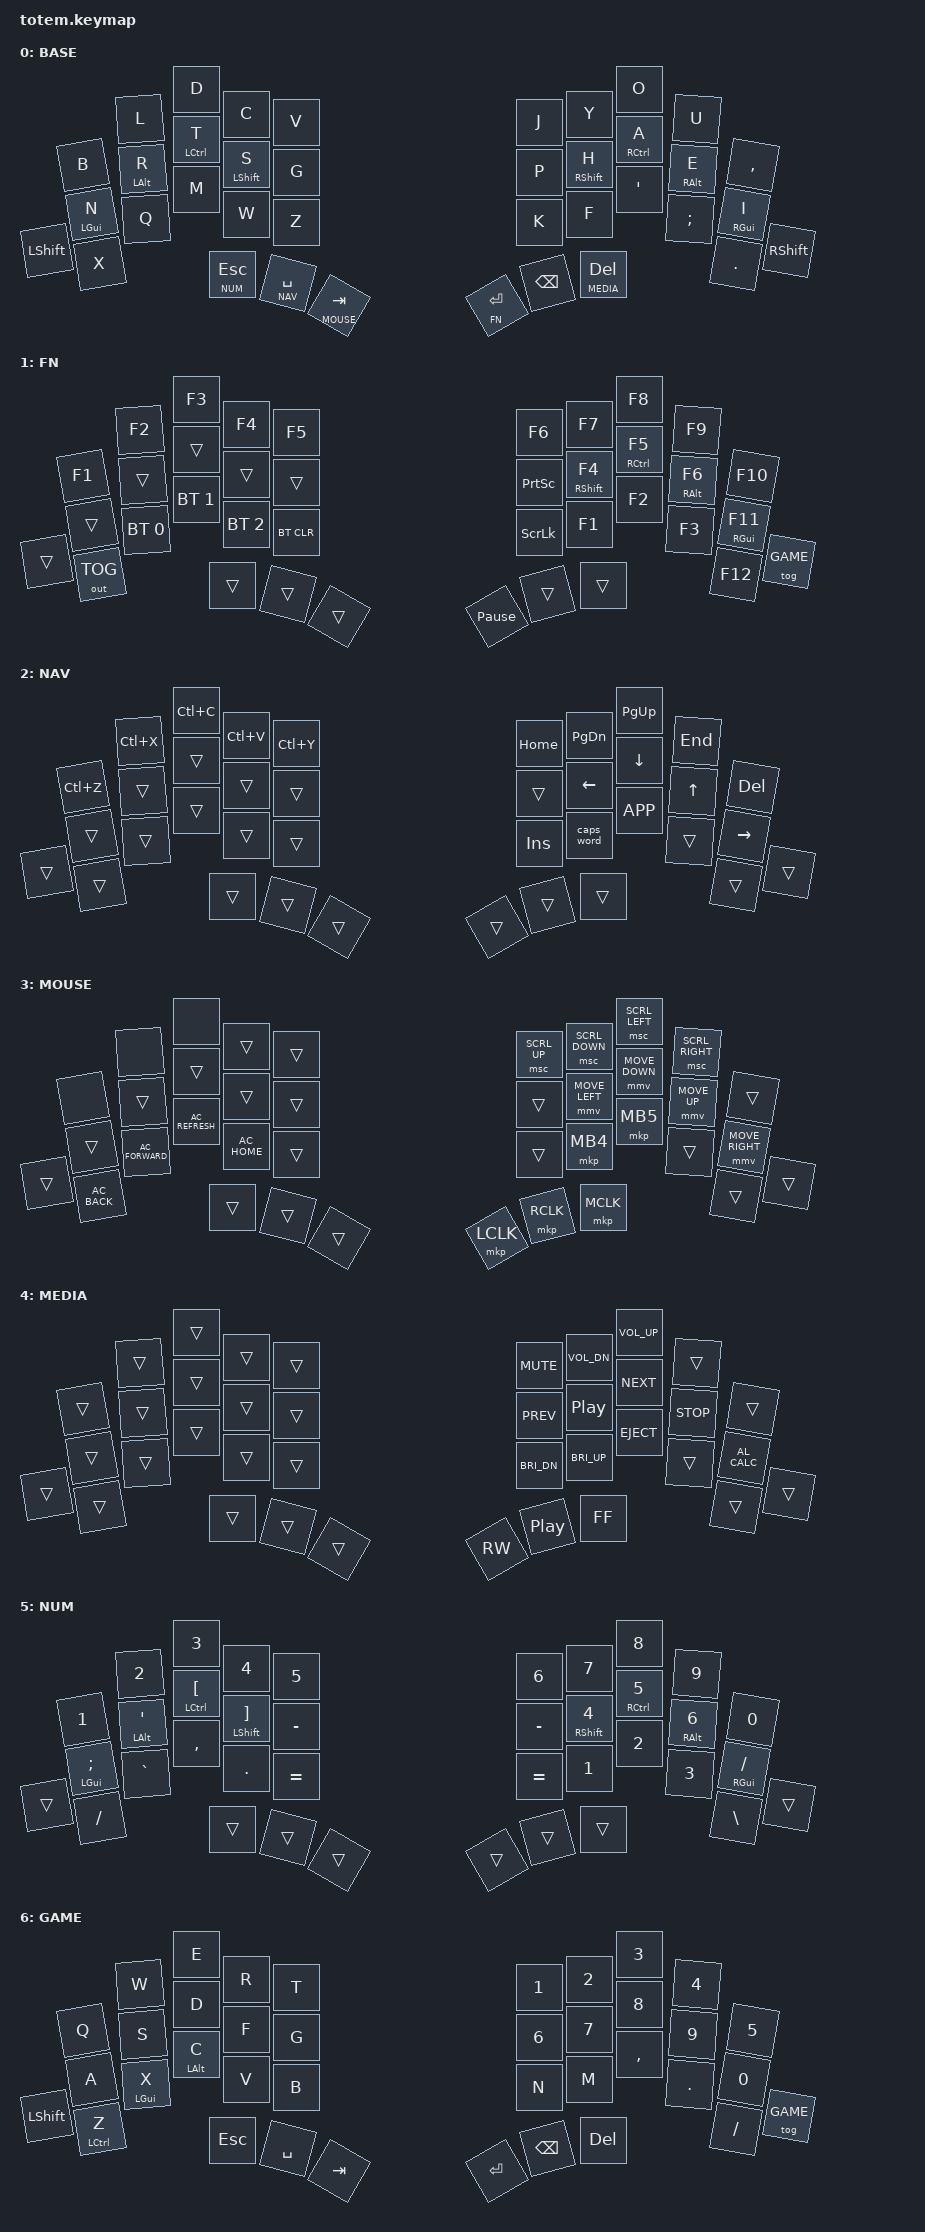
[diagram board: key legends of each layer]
//
//                                                        ▀▀▀▀▀     ▀▀▀▀▀          ▀▀█▀▀
//                                                        ▄▀▀▀▄  ▄  ▄▀▀▀▄  ▄  ▄▀▀▀▄  █  ▄▀▀▀▄
//                                                        █   █  █  █   █  █  █   █  █  █   █
//                                                         ▀▀▀   █   ▀▀▀   █   ▀▀▀   ▀   ▀▀▀
//                                                               █      ▄▄▄█▄▄▄    █   █
//                                                               ▀      █  █  █     █▄█
//                                                             ▀▀▀▀▀    █  █  █      ▀
//                                                                      ▀  ▀  ▀
//
// ▄▄▄▄▄▄▄▄▄▄▄▄▄▄▄▄▄▄▄▄▄▄▄▄▄▄▄▄▄▄▄▄▄▄▄▄▄▄▄▄▄▄▄▄▄▄▄▄▄▄▄▄▄▄▄▄▄▄▄▄▄▄▄▄▄▄▄▄▄▄▄▄▄▄▄▄▄▄▄▄▄▄▄▄▄▄▄▄▄▄▄▄▄▄▄▄▄▄▄▄▄▄▄▄▄▄▄▄▄▄▄▄▄▄▄▄▄▄▄▄▄▄▄▄▄▄▄▄▄▄▄▄▄▄▄▄▄▄▄▄▄▄▄▄▄▄▄▄▄
// Gallium layout with GACS home row mods, 7 layers
// Matches rmk-firmware/keyboard.toml

#include <behaviors.dtsi>
#include <dt-bindings/zmk/keys.h>
#include <dt-bindings/zmk/bt.h>
#include <dt-bindings/zmk/outputs.h>
#include <dt-bindings/zmk/mouse.h>

#define BASE  0
#define FN    1
#define NAV   2
#define MOUSE 3
#define MEDIA 4
#define NUM   5
#define GAME  6

// Key position groups for positional hold-tap
//          0   1   2   3   4       5   6   7   8   9
//         10  11  12  13  14      15  16  17  18  19
//    20   21  22  23  24  25      26  27  28  29  30  31
//                  32  33  34      35  36  37
#define KEYS_L 0 1 2 3 4 10 11 12 13 14 20 21 22 23 24 25
#define KEYS_R 5 6 7 8 9 15 16 17 18 19 26 27 28 29 30 31
#define THUMBS 32 33 34 35 36 37

// Layer-tap for thumb keys: hold-preferred (activate layer on any keypress)
&lt {
    flavor = "hold-preferred";
    tapping-term-ms = <200>;
};

// Mod-tap for gaming layer
&mt {
    flavor = "tap-preferred";
    tapping-term-ms = <200>;
    require-prior-idle-ms = <100>;
};

/ {
    behaviors {
        // Home row mod left: only triggers hold on cross-hand keypresses
        hml: home_row_mod_left {
            compatible = "zmk,behavior-hold-tap";
            #binding-cells = <2>;
            flavor = "balanced";
            tapping-term-ms = <280>;
            require-prior-idle-ms = <150>;
            bindings = <&kp>, <&kp>;
            hold-trigger-key-positions = <KEYS_R THUMBS>;
            hold-trigger-on-release;
        };
        // Home row mod right: only triggers hold on cross-hand keypresses
        hmr: home_row_mod_right {
            compatible = "zmk,behavior-hold-tap";
            #binding-cells = <2>;
            flavor = "balanced";
            tapping-term-ms = <280>;
            require-prior-idle-ms = <150>;
            bindings = <&kp>, <&kp>;
            hold-trigger-key-positions = <KEYS_L THUMBS>;
            hold-trigger-on-release;
        };
    };

    keymap {
        compatible = "zmk,keymap";

// ▄▄▄▄▄▄▄▄▄▄▄▄▄▄▄▄▄▄▄▄▄▄▄▄▄▄▄▄▄▄▄▄▄▄▄▄▄▄▄▄▄▄▄▄▄▄▄▄▄▄▄▄▄▄▄▄▄▄▄▄▄▄▄▄▄▄▄▄▄▄▄▄▄▄▄▄▄▄▄▄▄▄▄▄▄▄▄▄▄▄▄▄▄▄▄▄▄▄▄▄▄▄▄▄▄▄▄▄▄▄▄▄▄▄▄▄▄▄▄▄▄▄▄▄▄▄▄▄▄▄▄▄▄▄▄▄▄▄▄▄▄▄▄▄▄▄▄▄▄
        // Layer 0: Base (Gallium)
        // Top:    B  L  D  C  V  |  J  Y  O  U  ,
        // Home:   N  R  T  S  G  |  P  H  A  E  I    (HRM: Gui Alt Ctrl Shift | Shift Ctrl Alt Gui)
        // Bottom: X  Q  M  W  Z  |  K  F  '  ;  .
        // Side:   LShift                        RShift
        // Thumbs: Esc(Num) Space(Nav) Tab(Mouse) | Enter(Fn) Bksp Del(Media)
        base_layer {
            label = "BASE";
            bindings = <
                &kp B       &kp L       &kp D       &kp C       &kp V           &kp J       &kp Y       &kp O       &kp U       &kp COMMA
                &hml LGUI N &hml LALT R &hml LCTRL T &hml LSHFT S &kp G         &kp P       &hmr RSHFT H &hmr RCTRL A &hmr RALT E &hmr RGUI I
    &kp LSHFT   &kp X       &kp Q       &kp M       &kp W       &kp Z           &kp K       &kp F       &kp SQT     &kp SEMI    &kp DOT     &kp RSHFT
                                        &lt NUM ESC &lt NAV SPACE &lt MOUSE TAB  &lt FN RET  &kp BSPC    &lt MEDIA DEL
            >;
        };

// ▄▄▄▄▄▄▄▄▄▄▄▄▄▄▄▄▄▄▄▄▄▄▄▄▄▄▄▄▄▄▄▄▄▄▄▄▄▄▄▄▄▄▄▄▄▄▄▄▄▄▄▄▄▄▄▄▄▄▄▄▄▄▄▄▄▄▄▄▄▄▄▄▄▄▄▄▄▄▄▄▄▄▄▄▄▄▄▄▄▄▄▄▄▄▄▄▄▄▄▄▄▄▄▄▄▄▄▄▄▄▄▄▄▄▄▄▄▄▄▄▄▄▄▄▄▄▄▄▄▄▄▄▄▄▄▄▄▄▄▄▄▄▄▄▄▄▄▄▄
        // Layer 1: Function + System (hold Enter)
        // Top:    F1-F5          |  F6-F10
        // Home:   (HRM pass-through) | PrtSc  F4(Sh) F5(Ct) F6(Al) F11(Gui)
        // Bottom: OUT BT0 BT1 BT2 BTCLR | ScrLk F1 F2 F3 F12
        // Thumbs: trans          |  Pause trans trans
        fn_layer {
            label = "FN";
            bindings = <
                &kp F1      &kp F2      &kp F3      &kp F4      &kp F5          &kp F6      &kp F7      &kp F8      &kp F9      &kp F10
                &trans      &trans      &trans      &trans      &trans          &kp PSCRN   &hmr RSHFT F4 &hmr RCTRL F5 &hmr RALT F6 &hmr RGUI F11
    &trans      &out OUT_TOG &bt BT_SEL 0 &bt BT_SEL 1 &bt BT_SEL 2 &bt BT_CLR  &kp SLCK    &kp F1      &kp F2      &kp F3      &kp F12     &tog GAME
                                        &trans      &trans      &trans          &kp PAUSE_BREAK &trans  &trans
            >;
        };

// ▄▄▄▄▄▄▄▄▄▄▄▄▄▄▄▄▄▄▄▄▄▄▄▄▄▄▄▄▄▄▄▄▄▄▄▄▄▄▄▄▄▄▄▄▄▄▄▄▄▄▄▄▄▄▄▄▄▄▄▄▄▄▄▄▄▄▄▄▄▄▄▄▄▄▄▄▄▄▄▄▄▄▄▄▄▄▄▄▄▄▄▄▄▄▄▄▄▄▄▄▄▄▄▄▄▄▄▄▄▄▄▄▄▄▄▄▄▄▄▄▄▄▄▄▄▄▄▄▄▄▄▄▄▄▄▄▄▄▄▄▄▄▄▄▄▄▄▄▄
        // Layer 2: Nav/Edit (hold Space)
        // Top:    Undo Cut Copy Paste Redo | Home PgDn PgUp End Del
        // Home:   (HRM pass-through)       | trans Left Down Up Right
        // Bottom: trans                     | Ins CapsWord Menu
        nav_layer {
            label = "NAV";
            bindings = <
                &kp LC(Z)   &kp LC(X)   &kp LC(C)   &kp LC(V)   &kp LC(Y)       &kp HOME    &kp PG_DN   &kp PG_UP   &kp END     &kp DEL
                &trans      &trans      &trans      &trans      &trans          &trans      &kp LEFT    &kp DOWN    &kp UP      &kp RIGHT
    &trans      &trans      &trans      &trans      &trans      &trans          &kp INS     &caps_word  &kp K_APP   &trans      &trans      &trans
                                        &trans      &trans      &trans          &trans      &trans      &trans
            >;
        };

// ▄▄▄▄▄▄▄▄▄▄▄▄▄▄▄▄▄▄▄▄▄▄▄▄▄▄▄▄▄▄▄▄▄▄▄▄▄▄▄▄▄▄▄▄▄▄▄▄▄▄▄▄▄▄▄▄▄▄▄▄▄▄▄▄▄▄▄▄▄▄▄▄▄▄▄▄▄▄▄▄▄▄▄▄▄▄▄▄▄▄▄▄▄▄▄▄▄▄▄▄▄▄▄▄▄▄▄▄▄▄▄▄▄▄▄▄▄▄▄▄▄▄▄▄▄▄▄▄▄▄▄▄▄▄▄▄▄▄▄▄▄▄▄▄▄▄▄▄▄
        // Layer 3: Mouse (hold Tab)
        // Top:    (no accel in ZMK)         | WheelUp WheelDn WheelL WheelR
        // Home:   (HRM pass-through)        | trans MouseL MouseD MouseU MouseR
        // Bottom: Back Fwd Refresh Home     | trans MB4 MB5
        // Thumbs: trans                     | MB1 MB2 MB3
        mouse_layer {
            label = "MOUSE";
            bindings = <
                &none       &none       &none       &trans      &trans          &msc SCRL_UP &msc SCRL_DOWN &msc SCRL_LEFT &msc SCRL_RIGHT &trans
                &trans      &trans      &trans      &trans      &trans          &trans      &mmv MOVE_LEFT &mmv MOVE_DOWN &mmv MOVE_UP &mmv MOVE_RIGHT
    &trans      &kp C_AC_BACK &kp C_AC_FORWARD &kp C_AC_REFRESH &kp C_AC_HOME &trans  &trans      &mkp MB4    &mkp MB5    &trans      &trans      &trans
                                        &trans      &trans      &trans          &mkp LCLK   &mkp RCLK   &mkp MCLK
            >;
        };

// ▄▄▄▄▄▄▄▄▄▄▄▄▄▄▄▄▄▄▄▄▄▄▄▄▄▄▄▄▄▄▄▄▄▄▄▄▄▄▄▄▄▄▄▄▄▄▄▄▄▄▄▄▄▄▄▄▄▄▄▄▄▄▄▄▄▄▄▄▄▄▄▄▄▄▄▄▄▄▄▄▄▄▄▄▄▄▄▄▄▄▄▄▄▄▄▄▄▄▄▄▄▄▄▄▄▄▄▄▄▄▄▄▄▄▄▄▄▄▄▄▄▄▄▄▄▄▄▄▄▄▄▄▄▄▄▄▄▄▄▄▄▄▄▄▄▄▄▄▄
        // Layer 4: Media (hold Delete)
        // Top:    trans              | Mute VolDn VolUp
        // Home:   trans              | Prev Play Next Stop Calc
        // Bottom: trans              | BriDn BriUp Eject
        // Thumbs: trans              | Rewind Play FastFwd
        media_layer {
            label = "MEDIA";
            bindings = <
                &trans      &trans      &trans      &trans      &trans          &kp C_MUTE  &kp C_VOL_DN &kp C_VOL_UP &trans     &trans
                &trans      &trans      &trans      &trans      &trans          &kp C_PREV  &kp C_PP    &kp C_NEXT  &kp C_STOP  &kp C_AL_CALC
    &trans      &trans      &trans      &trans      &trans      &trans          &kp C_BRI_DN &kp C_BRI_UP &kp C_EJECT &trans    &trans      &trans
                                        &trans      &trans      &trans          &kp C_RW    &kp C_PP    &kp C_FF
            >;
        };

// ▄▄▄▄▄▄▄▄▄▄▄▄▄▄▄▄▄▄▄▄▄▄▄▄▄▄▄▄▄▄▄▄▄▄▄▄▄▄▄▄▄▄▄▄▄▄▄▄▄▄▄▄▄▄▄▄▄▄▄▄▄▄▄▄▄▄▄▄▄▄▄▄▄▄▄▄▄▄▄▄▄▄▄▄▄▄▄▄▄▄▄▄▄▄▄▄▄▄▄▄▄▄▄▄▄▄▄▄▄▄▄▄▄▄▄▄▄▄▄▄▄▄▄▄▄▄▄▄▄▄▄▄▄▄▄▄▄▄▄▄▄▄▄▄▄▄▄▄▄
        // Layer 5: Num/Sym (hold Escape)
        // Top:    1 2 3 4 5        | 6 7 8 9 0
        // Home:   ;(Gui) '(Alt) [(Ctrl) ](Shift) - | - 4(Sh) 5(Ct) 6(Al) /(Gui)  (HRM on both sides)
        // Bottom: / ` , . =        | = 1 2 3 backslash
        num_layer {
            label = "NUM";
            bindings = <
                &kp N1      &kp N2      &kp N3      &kp N4      &kp N5          &kp N6      &kp N7      &kp N8      &kp N9      &kp N0
                &hml LGUI SEMI &hml LALT SQT &hml LCTRL LBKT &hml LSHFT RBKT &kp MINUS  &kp MINUS   &hmr RSHFT N4 &hmr RCTRL N5 &hmr RALT N6 &hmr RGUI FSLH
    &trans      &kp FSLH    &kp GRAVE   &kp COMMA   &kp DOT     &kp EQUAL       &kp EQUAL   &kp N1      &kp N2      &kp N3      &kp BSLH    &trans
                                        &trans      &trans      &trans          &trans      &trans      &trans
            >;
        };

// ▄▄▄▄▄▄▄▄▄▄▄▄▄▄▄▄▄▄▄▄▄▄▄▄▄▄▄▄▄▄▄▄▄▄▄▄▄▄▄▄▄▄▄▄▄▄▄▄▄▄▄▄▄▄▄▄▄▄▄▄▄▄▄▄▄▄▄▄▄▄▄▄▄▄▄▄▄▄▄▄▄▄▄▄▄▄▄▄▄▄▄▄▄▄▄▄▄▄▄▄▄▄▄▄▄▄▄▄▄▄▄▄▄▄▄▄▄▄▄▄▄▄▄▄▄▄▄▄▄▄▄▄▄▄▄▄▄▄▄▄▄▄▄▄▄▄▄▄▄
        // Layer 6: Gaming (toggle via TG(6) from Fn layer)
        // WASD movement, dedicated mods on bottom (no HRM)
        game_layer {
            label = "GAME";
            bindings = <
                &kp Q       &kp W       &kp E       &kp R       &kp T           &kp N1      &kp N2      &kp N3      &kp N4      &kp N5
                &kp A       &kp S       &kp D       &kp F       &kp G           &kp N6      &kp N7      &kp N8      &kp N9      &kp N0
    &kp LSHFT   &mt LCTRL Z &mt LGUI X  &mt LALT C  &kp V       &kp B           &kp N       &kp M       &kp COMMA   &kp DOT     &kp FSLH    &tog GAME
                                        &kp ESC     &kp SPACE   &kp TAB         &kp RET     &kp BSPC    &kp DEL
            >;
        };
    };
};
